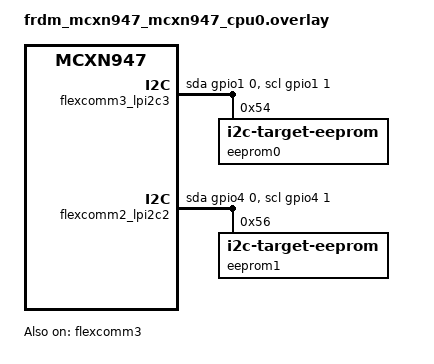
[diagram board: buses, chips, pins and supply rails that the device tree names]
/*
 * Copyright 2024-2025 NXP
 *
 * SPDX-License-Identifier: Apache-2.0
 */
&flexcomm3 {
	status = "okay";
};

&flexcomm3_lpi2c3 {
	status = "okay";
};

/* To test this sample, connect
 * LPI2C3 SCL(J5-5, P1_1/FC3_P1)    -->        LPI2C2 SCL(J2-20, P4_1/FC2_P1)
 * LPI2C3 SDA(J5-6, P1_0/FC3_P0)     -->        LPI2C2 SDA(J2-18, P4_0/FC2_P0)
 */
&flexcomm3_lpi2c3 {
	scl-gpios = <&gpio1 1 (GPIO_ACTIVE_HIGH | GPIO_PULL_UP)>;
	sda-gpios = <&gpio1 0 (GPIO_ACTIVE_HIGH | GPIO_PULL_UP)>;
	recover-bus-on-init;
	status = "okay";

	eeprom0: eeprom@54 {
		compatible = "zephyr,i2c-target-eeprom";
		reg = <0x54>;
		size = <256>;
	};
};

&flexcomm2_lpi2c2 {
	scl-gpios = <&gpio4 1 (GPIO_ACTIVE_HIGH | GPIO_PULL_UP)>;
	sda-gpios = <&gpio4 0 (GPIO_ACTIVE_HIGH | GPIO_PULL_UP)>;
	recover-bus-on-init;

	eeprom1: eeprom@56 {
		compatible = "zephyr,i2c-target-eeprom";
		reg = <0x56>;
		size = <256>;
	};
};
